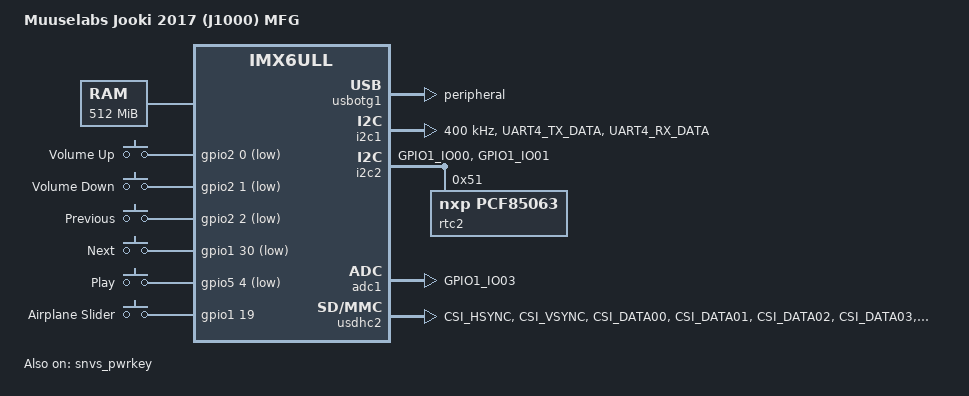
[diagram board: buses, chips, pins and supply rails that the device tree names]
/*
 * Copyright (C) 2016 Freescale Semiconductor, Inc.
 * Copyright (C) 2017, Muuselabs NV/SA
 *
 * This program is free software; you can redistribute it and/or modify
 * it under the terms of the GNU General Public License version 2 as
 * published by the Free Software Foundation.
 */

/* this DTS is designed to be as minimal as possible to bring up the board
 * for manufacturing / rescue images.
 * 
 * Only memory interfaces, debug uart and debug USB
 * 
 */

/* important to use ifndef as this file is included by other files with
 * newer partition tables
 */
#ifndef ML_JOOKI_PARTITION_VERSION
#define ML_JOOKI_PARTITION_VERSION 0
#endif

/dts-v1/;

#define DEBUG_UART_ENABLED

#include <dt-bindings/input/input.h>
#include "imx6ull.dtsi"

#include "ml-jooki-common.dtsi"

/ {
	model = "Muuselabs Jooki 2017 (J1000) MFG";
	
	// NOTE: the amount of memory can be board-specific
	memory {
		reg = <0x80000000 0x20000000>;
	};
};

/* Serial interfaces
 */
&iomuxc {
	j1000-peri {
		pinctrl_i2c1: i2c1grp {
			fsl,pins = < /* PP: crosschecked sch VC4.0  20170829 */
			MX6UL_PAD_UART4_TX_DATA__I2C1_SCL 0x4001b8b0
			MX6UL_PAD_UART4_RX_DATA__I2C1_SDA 0x4001b8b0 
			>;
		};
		
		pinctrl_i2c2: i2c2grp {
			fsl,pins = < /* PP: crosschecked sch VC4.0  20170829 */
			MX6UL_PAD_GPIO1_IO00__I2C2_SCL  0x4001b8b0
			MX6UL_PAD_GPIO1_IO01__I2C2_SDA  0x4001b8b0
			>;
		};
	};
};

&usbotg1 {
	dr_mode = "peripheral";
	status = "okay";
};

&usbphy1 {
	tx-d-cal = <0x5>;
};

&i2c1 {
	clock-frequency = <400000>;
	pinctrl-names = "default";
	pinctrl-0 = <&pinctrl_i2c1>;
	status = "okay";
};

&i2c2 {
	clock_frequency = <400000>;
	pinctrl-names = "default";
	pinctrl-0 = <&pinctrl_i2c2>;
	status = "okay";	
};

/* Keys control */
/ {
	keys { /* PP: crosschecked sch VC4.0  20170829 */
		compatible = "gpio-keys";
		pinctrl-names = "default";
		pinctrl-0 = <&pinctrl_gpio_keys &pinctrl_gpio_keys_snvs>;

		user1 {
			label = "Volume Up";
			gpios = <&gpio2 0 GPIO_ACTIVE_LOW>;
			linux,code = <KEY_VOLUMEUP>;
		};
		user2 {
			label = "Volume Down";
			gpios = <&gpio2 1 GPIO_ACTIVE_LOW>;
			linux,code = <KEY_VOLUMEDOWN>;
		};
		user3 {
			label = "Previous";
			gpios = <&gpio2 2 GPIO_ACTIVE_LOW>;
			linux,code = <KEY_PREVIOUSSONG>;
		};
		user4 {
			label = "Next";
			gpios = <&gpio1 30 GPIO_ACTIVE_LOW>;
			linux,code = <KEY_NEXTSONG>;
		};
		user5 {
			label = "Play";
			gpios = <&gpio5 4 GPIO_ACTIVE_LOW>;
			linux,code = <KEY_PLAY>;
		};
		user6 {
			label = "Airplane Slider";
			gpios = <&gpio1 19 GPIO_ACTIVE_HIGH>;
			linux,code = <KEY_WPS_BUTTON>;
		};
		/*
		user8 {
			label = "test key";
			gpios = <&gpio2 14 GPIO_ACTIVE_LOW>;
			linux,code = <KEY_ESC>;
		};
		*/
	};
};

&iomuxc {
	j1000-keys {
		pinctrl_gpio_keys: gpio_keysgrp {
			fsl,pins = < /* PP: crosschecked sch VC4.0  20170829 */
				MX6UL_PAD_ENET1_RX_DATA0__GPIO2_IO00      0x0001B0B0 /* BTN_VOLUP */
				MX6UL_PAD_ENET1_RX_DATA1__GPIO2_IO01      0x0001B0B0 /* BTN_VOLDN */
				MX6UL_PAD_ENET1_RX_EN__GPIO2_IO02         0x0001B0B0 /* BTN_PREV  */
				MX6UL_PAD_UART5_TX_DATA__GPIO1_IO30       0x0001B0B0 /* BTN_NEXT  */
				MX6UL_PAD_UART1_CTS_B__GPIO1_IO18         0x000100B0 /* BTN_RADIO   */
				MX6UL_PAD_UART1_RTS_B__GPIO1_IO19         0x000100B0 /* BTN_AIR */
			>;
		};
	};
};

&iomuxc_snvs {
	j1000-keys-snvs {
		pinctrl_gpio_keys_snvs: gpio_keysgrp_snvs {
			fsl,pins = < /* PP: crosschecked sch VC4.0  20170829 */
				MX6ULL_PAD_SNVS_TAMPER4__GPIO5_IO04        0x0001B0A0 /* BTN_PLAY */
			>;
		};
	};
};

&snvs_pwrkey {
	linux,keycode = <KEY_POWER2>;
	status = "okay";
};


/* Power management and control
 */

&snvs_poweroff {
	status = "okay";
};

&i2c2 {
	rtc2: pcf85063@51 {
		compatible = "nxp,pcf85063";
		reg = <0x51>;
	};
};

&adc1 {
	/*vref-supply = <&reg_vcc_3v3_mcu>;*/
	pinctrl-names = "default";
	pinctrl-0 = <&pinctrl_adc1>;
	num-channels = <4>;
	status = "okay";
};

&iomuxc {
	j1000-pwr {
		pinctrl_adc1: adc1grp {
			fsl,pins = < /* PP: crosschecked sch VC4.0  20170829 */
				MX6UL_PAD_GPIO1_IO03__GPIO1_IO03          0x000010B0 /* VBAT_DIV */
			>;
		};
		pinctrl_pwr: pwrgrp {
			fsl,pins = < /* PP: crosschecked sch VC4.0  20170829 */
				MX6UL_PAD_GPIO1_IO07__GPIO1_IO07          0x00003008 /* ADC_ON */
			>;
		};
		
	};
};

&iomuxc_snvs {
	j1000-pwr-snvs {
		pinctrl_pwr_snvs: gpio_pwr_snvs {
			fsl,pins = < /* PP: crosschecked sch VC4.0  20170829 */
				MX6ULL_PAD_SNVS_TAMPER5__GPIO5_IO05       0x000190B0 /* CHG_STA_B */
			>;
		};
	};
};

/* micro-sd card
 */
&iomuxc {
	j1000-usd {
		pinctrl_usdhc2: usdhc2grp {
			fsl,pins = < /* PP: crosschecked sch VC4.0  20170829 */
				
			MX6UL_PAD_CSI_HSYNC__USDHC2_CMD     0x1010
			MX6UL_PAD_CSI_VSYNC__USDHC2_CLK     0x1010
			MX6UL_PAD_CSI_DATA00__USDHC2_DATA0  0x1010
			MX6UL_PAD_CSI_DATA01__USDHC2_DATA1  0x1010
			MX6UL_PAD_CSI_DATA02__USDHC2_DATA2  0x1010
			MX6UL_PAD_CSI_DATA03__USDHC2_DATA3  0x1010

			MX6UL_PAD_CSI_MCLK__GPIO4_IO17		0x1b0b1	/* SD card detect */
			>;
		};
	};
};

&usdhc2 {
	pinctrl-names = "default";
	pinctrl-0 = <&pinctrl_usdhc2>;
	no-1-8-v;
	keep-power-in-suspend;
	cd-gpios = <&gpio4 17 GPIO_ACTIVE_LOW>;
	max-frequency = <5000000>; /* limit frequency so that SD cards actually mount */
	status = "okay";
};
